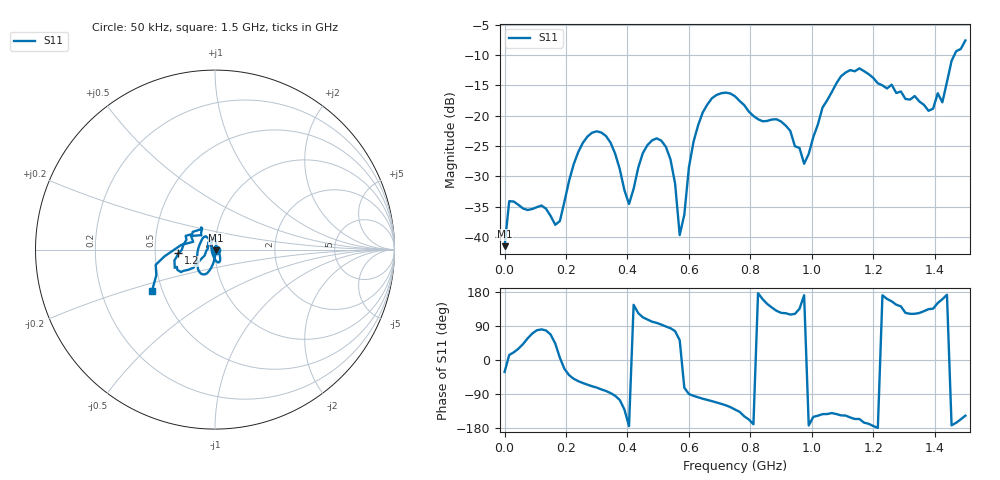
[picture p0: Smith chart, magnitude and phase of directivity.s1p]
! Created with skrf 1.8.0 (http://scikit-rf.org).
# Hz S RI R 50.0
!freq ReS11 ImS11
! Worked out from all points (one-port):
!   101 points, 50 kHz to 1.5 GHz, reference 50 ohm
!   lowest |S11| = -41.6 dB at 50 kHz (marker M1), VSWR 1.02, Z = 50.7 - j0.443 ohm
!   |S11| at or under -10 dB: start of sweep to 1.464 GHz
!   S11 on the Smith chart (normalised r, x): 50 kHz: 1.01, -0.01; 1.2 GHz: 0.66, -0.03; 1.5 GHz: 0.44, -0.24
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50000  0.00713 -0.00436
1.50495e7  0.0192 0.00449
1.20046e8  0.00291 0.0179
1.650445e8  0.00913 0.00861
1.950435e8  0.0179 -0.00792
2.40042e8  0.0282 -0.0417
2.850405e8  0.0255 -0.0678
3.30039e8  0.00979 -0.0673
3.750375e8  -0.0097 -0.0348
4.050365e8  -0.0186 -0.00184
4.50035e8  -0.0189 0.0454
5.10033e8  -0.00383 0.0622
5.40032e8  0.00473 0.0433
5.550315e8  0.00656 0.0267
5.70031e8  0.00633 0.00815
6.150295e8  -0.00489 -0.0608
6.450285e8  -0.0225 -0.104
7.50025e8  -0.0945 -0.1097
9.0002e8  -0.0506 0.0739
9.450185e8  -0.0295 0.0476
9.750175e8  -0.0396 0.00635
1.035016e9  -0.0932 -0.0706
1.125012e9  -0.2097 -0.1131
1.20001e9  -0.2043 -0.0209
1.320006e9  -0.0717 0.1154
1.425002e9  -0.1216 0.0434
1.455002e9  -0.2813 -0.0374
1.5e9  -0.3506 -0.2289
